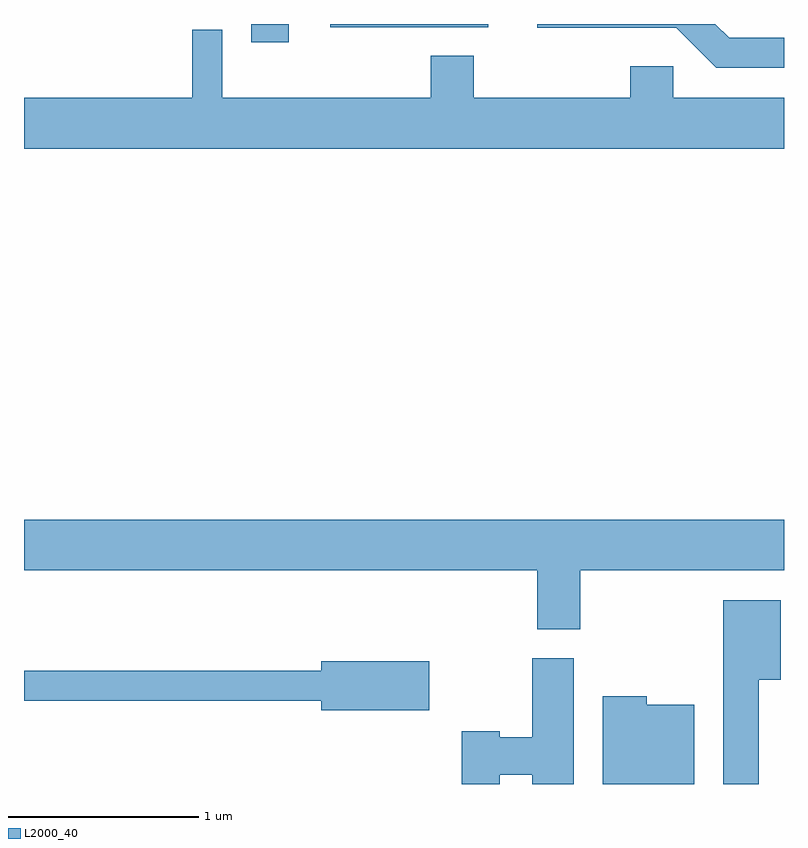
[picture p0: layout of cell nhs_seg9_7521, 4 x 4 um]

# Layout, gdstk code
import gdstk
lib = gdstk.Library(unit=1e-6, precision=1e-09)
def R(c, l, rs):  # rectangles x0, y0, x1, y1
    for r in rs: c.add(gdstk.rectangle(r[:2], r[2:], *l))
def P(c, l, *ps):  # polygons
    for p in ps: c.add(gdstk.Polygon(p, *l))
L2000_40 = (2000, 40)

nhs_seg9_7521 = lib.new_cell('nhs_seg9_7521')
R(nhs_seg9_7521, L2000_40, [(408.806,2032.336,409.004,2032.432), (409.223,2032.416,410.054,2032.432)])
P(nhs_seg9_7521, L2000_40, [(411.611,2032.359),(411.322,2032.359),(411.249,2032.432),(410.311,2032.432),(410.311,2032.411),(411.044,2032.411),(411.254,2032.201),(411.611,2032.201)],
  [(411.611,2032.044),(411.029,2032.044),(411.029,2032.209),(410.801,2032.209),(410.801,2032.044),(409.979,2032.044),(409.979,2032.264),(409.751,2032.264),(409.751,2032.044),(408.654,2032.044),(408.654,2032.403),(408.496,2032.403),(408.496,2032.044),(407.611,2032.044),(407.611,2031.776),(411.611,2031.776)],
  [(410.539,2029.556),(411.611,2029.556),(411.611,2029.824),(407.611,2029.824),(407.611,2029.556),(410.311,2029.556),(410.311,2029.246),(410.539,2029.246)],
  [(411.479,2028.981),(411.594,2028.981),(411.594,2029.399),(411.291,2029.399),(411.291,2028.432),(411.479,2028.432)],
  [(410.114,2028.481),(410.286,2028.481),(410.286,2028.432),(410.504,2028.432),(410.504,2029.094),(410.286,2029.094),(410.286,2028.679),(410.114,2028.679),(410.114,2028.709),(409.916,2028.709),(409.916,2028.432),(410.114,2028.432)],
  [(409.744,2029.079),(409.176,2029.079),(409.176,2029.029),(407.611,2029.029),(407.611,2028.871),(409.176,2028.871),(409.176,2028.821),(409.744,2028.821)],
  [(411.139,2028.849),(410.889,2028.849),(410.889,2028.894),(410.656,2028.894),(410.656,2028.432),(411.139,2028.432)])

lib.write_gds('nhs_seg9_7521.gds')
